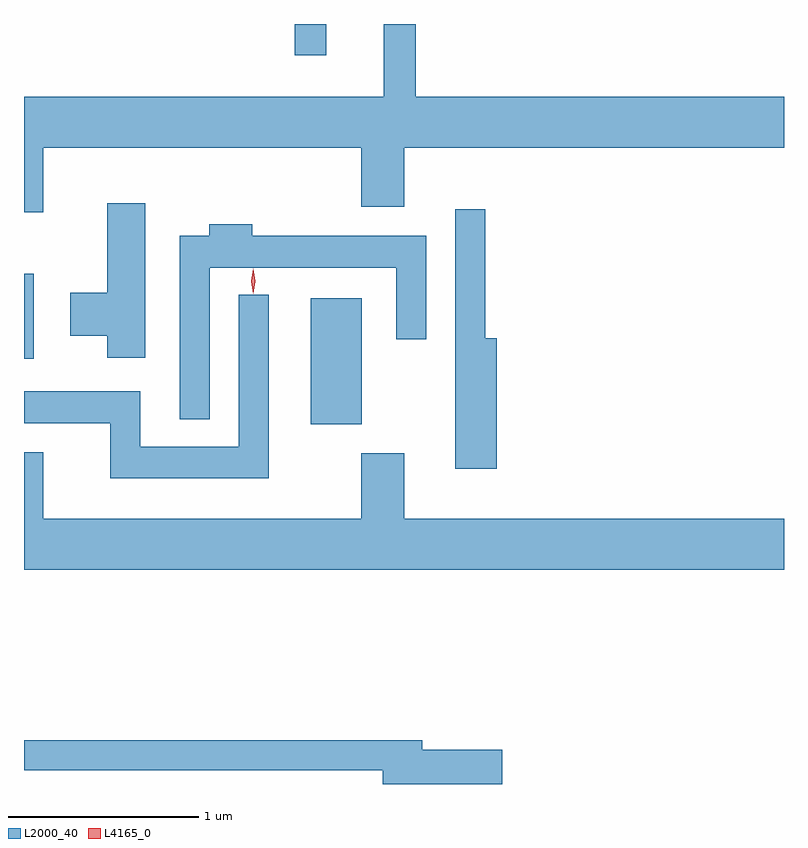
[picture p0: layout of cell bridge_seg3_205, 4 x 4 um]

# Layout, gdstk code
import gdstk
lib = gdstk.Library(unit=1e-6, precision=1e-09)
def R(c, l, rs):  # rectangles x0, y0, x1, y1
    for r in rs: c.add(gdstk.rectangle(r[:2], r[2:], *l))
def P(c, l, *ps):  # polygons
    for p in ps: c.add(gdstk.Polygon(p, *l))
L2000_40 = (2000, 40)
L4165_0 = (4165, 0)

bridge_seg3_205 = lib.new_cell('bridge_seg3_205')
R(bridge_seg3_205, L2000_40, [(937.126,1155.641,937.394,1156.304), (935.617,1155.986,935.669,1156.434), (937.041,1157.583,937.209,1157.748)])
P(bridge_seg3_205, L2000_40, [(935.719,1157.096),(937.391,1157.096),(937.391,1156.786),(937.619,1156.786),(937.619,1157.096),(939.617,1157.096),(939.617,1157.364),(937.679,1157.364),(937.679,1157.748),(937.511,1157.748),(937.511,1157.364),(935.617,1157.364),(935.617,1156.756),(935.719,1156.756)],
  [(936.254,1156.804),(936.056,1156.804),(936.056,1156.334),(935.861,1156.334),(935.861,1156.106),(936.056,1156.106),(936.056,1155.991),(936.254,1155.991)],
  [(938.104,1156.094),(938.044,1156.094),(938.044,1156.773),(937.886,1156.773),(937.886,1155.406),(938.104,1155.406)],
  [(936.594,1156.466),(937.576,1156.466),(937.576,1156.088),(937.734,1156.088),(937.734,1156.634),(936.819,1156.634),(936.819,1156.694),(936.591,1156.694),(936.591,1156.634),(936.436,1156.634),(936.436,1155.668),(936.594,1155.668)],
  [(936.904,1156.323),(936.746,1156.323),(936.746,1155.524),(936.229,1155.524),(936.229,1155.814),(935.617,1155.814),(935.617,1155.646),(936.071,1155.646),(936.071,1155.356),(936.904,1155.356)],
  [(939.617,1155.144),(937.619,1155.144),(937.619,1155.489),(937.391,1155.489),(937.391,1155.144),(935.719,1155.144),(935.719,1155.494),(935.617,1155.494),(935.617,1154.876),(939.617,1154.876)],
  [(938.134,1153.929),(937.714,1153.929),(937.714,1153.979),(935.617,1153.979),(935.617,1153.821),(937.506,1153.821),(937.506,1153.748),(938.134,1153.748)])
P(bridge_seg3_205, L4165_0, [(936.824,1156.327),(936.823,1156.328),(936.814,1156.394),(936.823,1156.46),(936.823,1156.46),(936.824,1156.46),(936.834,1156.394),(936.824,1156.328)])

lib.write_gds('bridge_seg3_205.gds')
